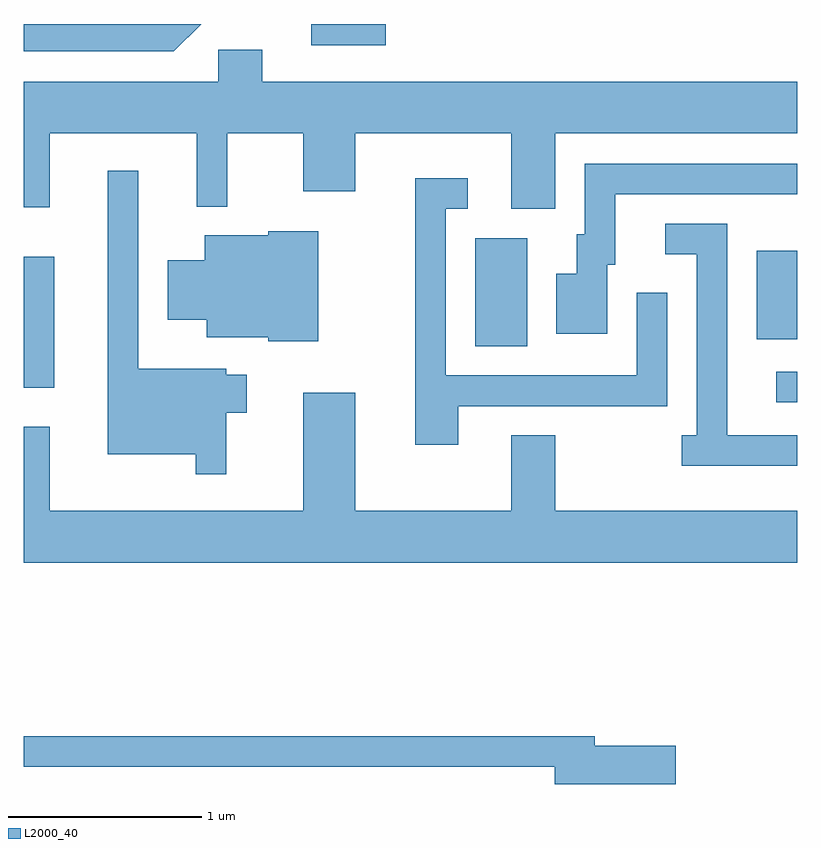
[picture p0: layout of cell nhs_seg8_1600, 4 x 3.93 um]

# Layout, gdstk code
import gdstk
lib = gdstk.Library(unit=1e-6, precision=1e-09)
def R(c, l, rs):  # rectangles x0, y0, x1, y1
    for r in rs: c.add(gdstk.rectangle(r[:2], r[2:], *l))
def P(c, l, *ps):  # polygons
    for p in ps: c.add(gdstk.Polygon(p, *l))
L2000_40 = (2000, 40)

nhs_seg8_1600 = lib.new_cell('nhs_seg8_1600')
R(nhs_seg8_1600, L2000_40, [(237.503,1808.386,237.611,1808.544), (233.611,1808.461,233.769,1809.139), (235.946,1808.676,236.214,1809.234), (237.401,1808.711,237.611,1809.169), (235.098,1810.231,235.484,1810.342)])
P(nhs_seg8_1600, L2000_40, [(234.528,1810.342),(233.611,1810.342),(233.611,1810.201),(234.387,1810.201)],
  [(236.359,1809.776),(237.611,1809.776),(237.611,1810.044),(234.844,1810.044),(234.844,1810.209),(234.616,1810.209),(234.616,1810.044),(233.611,1810.044),(233.611,1809.393),(233.744,1809.393),(233.744,1809.776),(234.506,1809.776),(234.506,1809.398),(234.664,1809.398),(234.664,1809.776),(235.056,1809.776),(235.056,1809.476),(235.324,1809.476),(235.324,1809.776),(236.131,1809.776),(236.131,1809.386),(236.359,1809.386)],
  [(236.629,1809.096),(236.669,1809.096),(236.669,1809.461),(237.611,1809.461),(237.611,1809.619),(236.511,1809.619),(236.511,1809.254),(236.471,1809.254),(236.471,1809.049),(236.366,1809.049),(236.366,1808.741),(236.629,1808.741)],
  [(234.659,1808.331),(234.764,1808.331),(234.764,1808.529),(234.659,1808.529),(234.659,1808.559),(234.204,1808.559),(234.204,1809.583),(234.046,1809.583),(234.046,1808.116),(234.501,1808.116),(234.501,1808.013),(234.659,1808.013)],
  [(235.859,1808.366),(236.939,1808.366),(236.939,1808.953),(236.781,1808.953),(236.781,1808.524),(235.794,1808.524),(235.794,1809.386),(235.908,1809.386),(235.908,1809.544),(235.636,1809.544),(235.636,1808.166),(235.859,1808.166)],
  [(237.611,1808.214),(237.249,1808.214),(237.249,1809.309),(236.928,1809.309),(236.928,1809.151),(237.091,1809.151),(237.091,1808.214),(237.013,1808.214),(237.013,1808.056),(237.611,1808.056)],
  [(235.134,1809.269),(234.876,1809.269),(234.876,1809.249),(234.546,1809.249),(234.546,1809.119),(234.356,1809.119),(234.356,1808.811),(234.556,1808.811),(234.556,1808.721),(234.876,1808.721),(234.876,1808.701),(235.134,1808.701)],
  [(237.611,1807.824),(236.359,1807.824),(236.359,1808.214),(236.131,1808.214),(236.131,1807.824),(235.324,1807.824),(235.324,1808.434),(235.056,1808.434),(235.056,1807.824),(233.744,1807.824),(233.744,1808.258),(233.611,1808.258),(233.611,1807.556),(237.611,1807.556)],
  [(236.984,1806.609),(236.564,1806.609),(236.564,1806.659),(233.611,1806.659),(233.611,1806.501),(236.356,1806.501),(236.356,1806.411),(236.984,1806.411)])

lib.write_gds('nhs_seg8_1600.gds')
